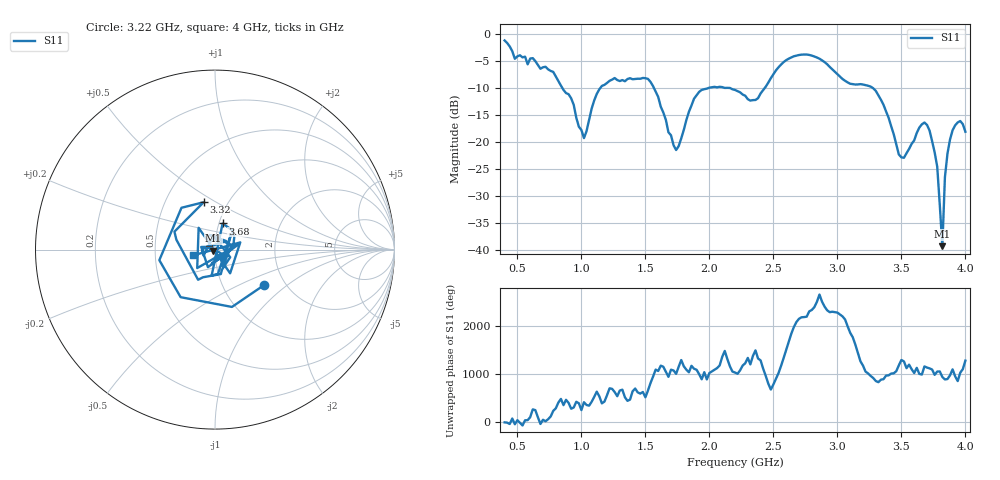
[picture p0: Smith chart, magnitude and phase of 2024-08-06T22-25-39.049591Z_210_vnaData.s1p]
!Created with skrf (http://scikit-rf.org).
# Hz S RI R 50.0
!freq ReS11 ImS11
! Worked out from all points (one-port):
!   181 points, 400 MHz to 4 GHz, reference 50 ohm
!   lowest |S11| = -39.4 dB at 3.82 GHz (marker M1), VSWR 1.02, Z = 49.1 - j0.566 ohm
!   |S11| at or under -10 dB: 851.9 MHz to 1.147 GHz (294.6 MHz wide, 29.5 % of centre); 1.567 GHz to 1.989 GHz (421.9 MHz wide, 23.7 % of centre); 3.279 GHz to end of sweep (the widest 3 of 4)
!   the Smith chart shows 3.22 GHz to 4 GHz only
!   S11 on the Smith chart (normalised r, x): 3.22 GHz: 1.57, -0.70; 3.32 GHz: 0.77, +0.44; 3.68 GHz: 1.04, +0.31; 4 GHz: 0.78, -0.05
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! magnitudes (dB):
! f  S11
! 400 MHz  -1.1
! 480 MHz  -4.5
! 620 MHz  -4.4
! 860 MHz  -10.3
! 920 MHz  -11.9
! 1.02 GHz  -19.3
! 1.14 GHz  -10.2
! 1.3 GHz  -8.7
! 1.52 GHz  -8.3
! 1.72 GHz  -20.6
! 1.76 GHz  -20.8
! 1.92 GHz  -10.7
! 2.2 GHz  -10.3
! 2.36 GHz  -12.2
! 2.66 GHz  -4.1
! 2.86 GHz  -4.5
! 3.1 GHz  -9.2
! 3.22 GHz  -9.4
! 3.32 GHz  -11.3
! 3.48 GHz  -22.3
! 3.56 GHz  -21.3
! 3.68 GHz  -16.4
! 3.78 GHz  -24.6
! 3.82 GHz  -39.4
! 3.84 GHz  -26.6
! 3.88 GHz  -19.5
! 3.96 GHz  -16.1
! 4 GHz  -18.1
